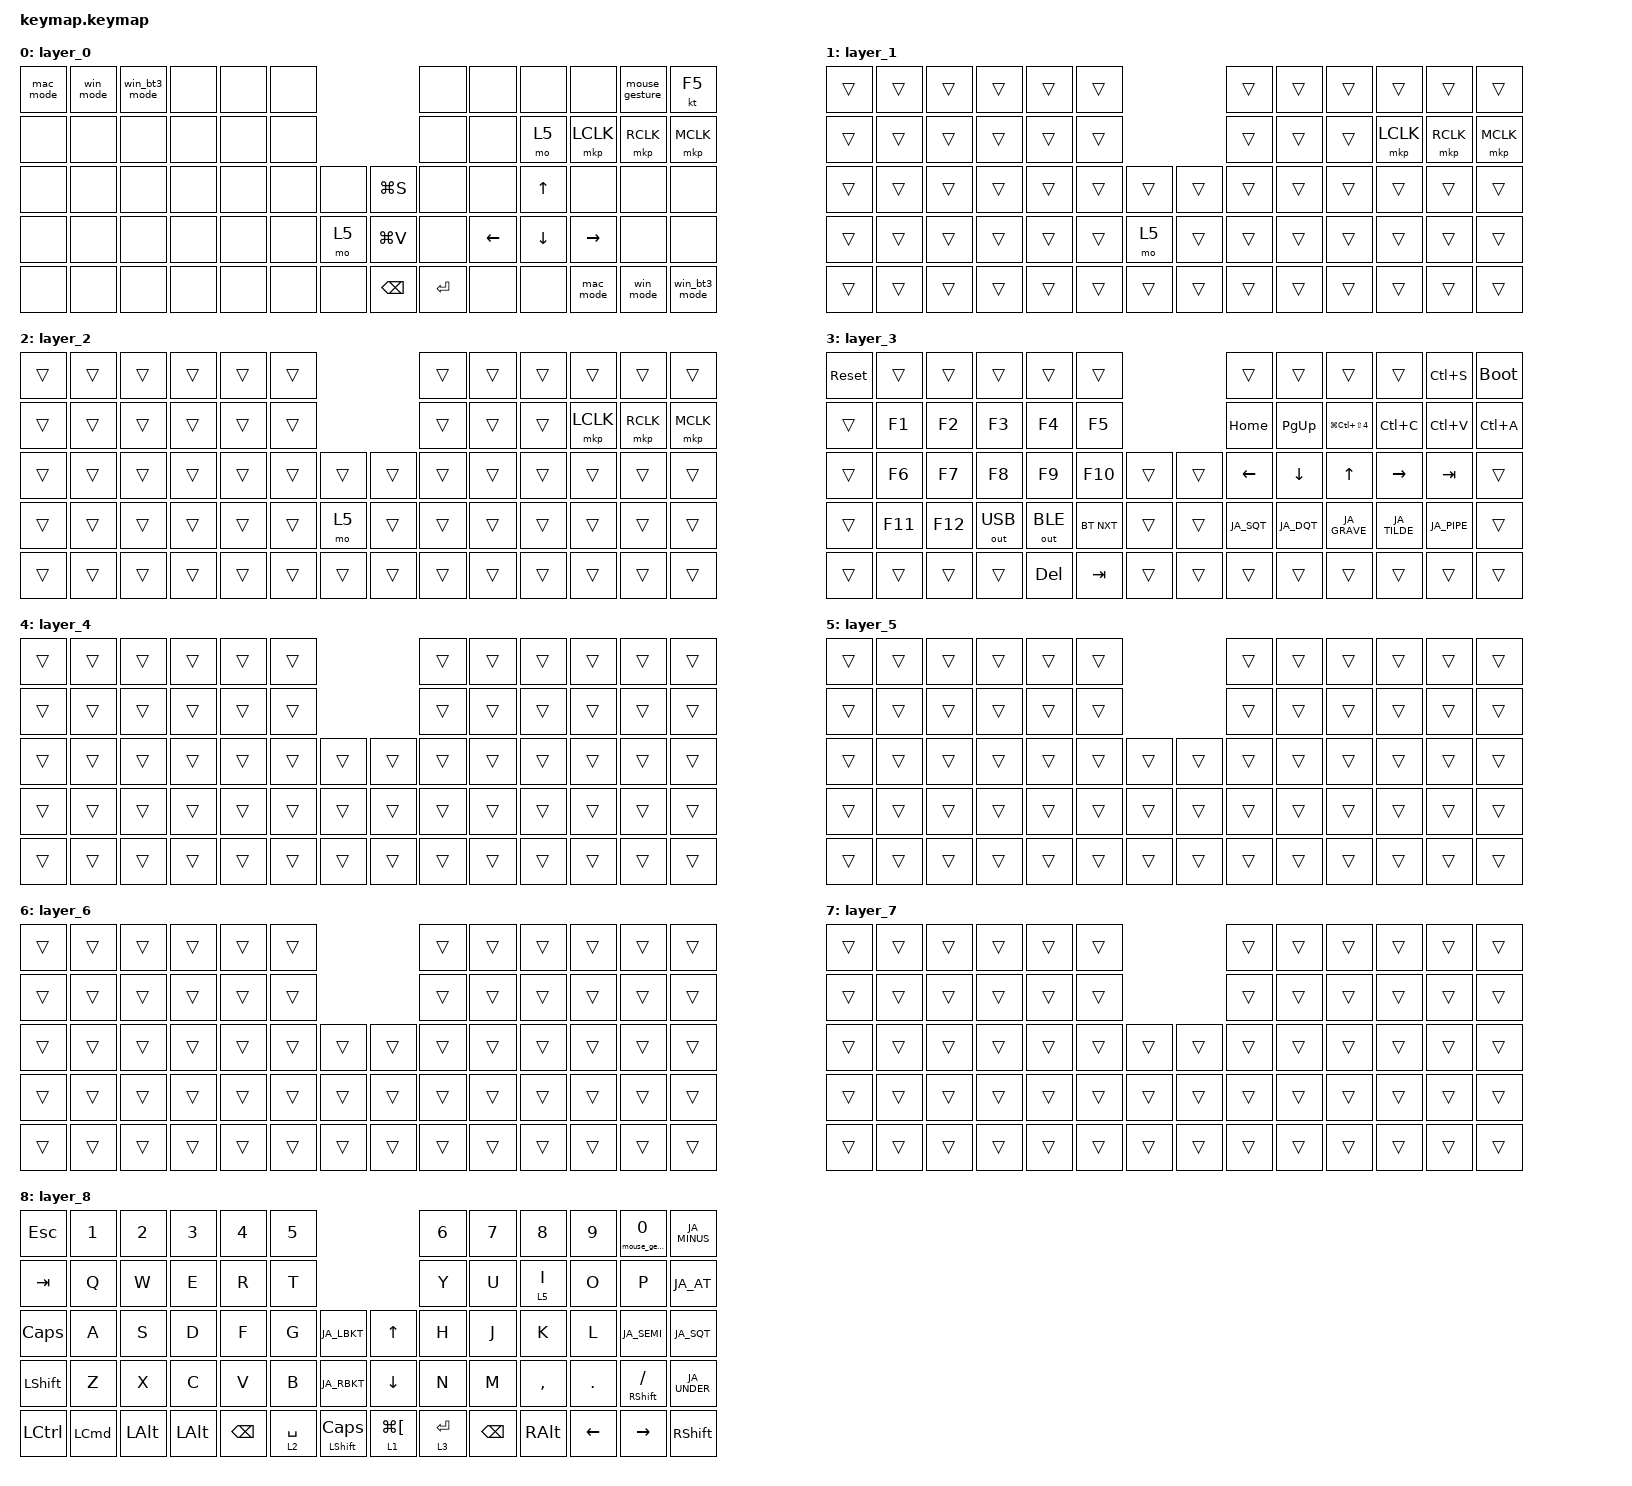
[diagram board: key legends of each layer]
// スクロール速度の基本値を最小に設定(デフォルトは10)

#define ZMK_POINTING_DEFAULT_SCRL_VAL 1

#include <dt-bindings/zmk/input_transform.h> // これがスクロール機能に必須です
#include <dt-bindings/zmk/reset.h>
#include <mouse-gesture.dtsi>
#include <behaviors.dtsi>
#include <dt-bindings/zmk/bt.h>
#include <dt-bindings/zmk/keys.h>
#include <dt-bindings/zmk/outputs.h>
#include <dt-bindings/zmk/pointing.h>
#include "keys_ja_mac.h"  // JIS配列Mac用キーコード (ローカルファイル)

/* * ジェスチャーパターンの設定 (Mac用 - モディファイア修正版) */

&zip_mouse_gesture {
    stroke-size = <100>;
    enable-eager-mode;

    // 左ジェスチャー -> デスクトップ左へ移動 (Mac: Control+Left)

    gesture_left {
        pattern = <GESTURE_LEFT>;
        bindings = <&kp LG(LEFT)>;  // MacではLGがControlとして認識される
    };

    // 右ジェスチャー -> デスクトップ右へ移動 (Mac: Control+Right)

    gesture_right {
        pattern = <GESTURE_RIGHT>;
        bindings = <&kp LG(RIGHT)>;
    };

    // 上ジェスチャー -> Mission Control (Mac: Control+Up)

    gesture_up {
        pattern = <GESTURE_UP>;
        bindings = <&kp LG(UP)>;
    };

    // 下ジェスチャー -> Spotlight検索 (Mac: Command+Space)

    gesture_down {
        pattern = <GESTURE_DOWN>;
        bindings = <&kp LC(SPACE)>;  // MacではLCがCommandとして認識される
    };
};

/ {
    win_mouse_gesture: win_mouse_gesture {
        compatible = "zmk,input-processor-mouse-gesture";
        #input-processor-cells = <0>;
        stroke-size = <100>;
        enable-eager-mode;

        // 左ジェスチャー -> 仮想デスクトップ左へ移動 (Windows: Ctrl+Win+Left)

        gesture_left {
            pattern = <GESTURE_LEFT>;
            bindings = <&kp LC(LG(LEFT))>;
        };

        // 右ジェスチャー -> 仮想デスクトップ右へ移動 (Windows: Ctrl+Win+Right)

        gesture_right {
            pattern = <GESTURE_RIGHT>;
            bindings = <&kp LC(LG(RIGHT))>;
        };

        // 上ジェスチャー -> タスクビュー (Windows: Win+Tab)

        gesture_up {
            pattern = <GESTURE_UP>;
            bindings = <&kp LG(TAB)>;
        };

        // 下ジェスチャー -> Windows検索 (Windows: Win+S)

        gesture_down {
            pattern = <GESTURE_DOWN>;
            bindings = <&kp LG(S)>;
        };
    };

    behaviors {
        // カスタムレイヤータップ: スクロール用 (balanced flavor)

        lt_balanced: lt_balanced {
            compatible = "zmk,behavior-hold-tap";
            #binding-cells = <2>;
            flavor = "balanced";
            tapping-term-ms = <200>;
            quick-tap-ms = <175>;
            bindings = <&mo>, <&kp>;
        };

        // カスタムhold-tap: ホールドでジェスチャー、タップで0キー

        gesture_n0: gesture_n0 {
            compatible = "zmk,behavior-hold-tap";
            #binding-cells = <2>;
            flavor = "balanced";
            tapping-term-ms = <200>;
            bindings = <&mouse_gesture>, <&kp>;
        };
    };

    macros {
        mac_mode: mac_mode {
            compatible = "zmk,behavior-macro";
            #binding-cells = <0>;
            wait-ms = <30>;
            tap-ms = <30>;
            // 対象を張り直してから選択し、他ホストの待機接続を切る。
            bindings = <&out OUT_BLE &bt BT_DISC 0 &bt BT_SEL 0
                        &bt BT_DISC 1 &bt BT_DISC 2 &to 1>;
        };

        win_mode: win_mode {
            compatible = "zmk,behavior-macro";
            #binding-cells = <0>;
            wait-ms = <30>;
            tap-ms = <30>;
            bindings = <&out OUT_BLE &bt BT_DISC 1 &bt BT_SEL 1
                        &bt BT_DISC 0 &bt BT_DISC 2 &to 2>;
        };

        win_bt3_mode: win_bt3_mode {
            compatible = "zmk,behavior-macro";
            #binding-cells = <0>;
            wait-ms = <30>;
            tap-ms = <30>;
            bindings = <&out OUT_BLE &bt BT_DISC 2 &bt BT_SEL 2
                        &bt BT_DISC 0 &bt BT_DISC 1 &to 2>;
        };
    };

    combos {
        compatible = "zmk,combos";

        bt_clear_current {
            bindings = <&bt BT_CLR>;
            key-positions = <6 7>;
            layers = <0>;
        };

        bt_clear_all {
            bindings = <&bt BT_CLR_ALL>;
            key-positions = <10 11>;
            layers = <0>;
        };
    };

    keymap {
        compatible = "zmk,keymap";

        /* Layer 0: マウス専用ベース */

        layer_0 {
            bindings = <
&mac_mode  &win_mode  &win_bt3_mode  &none  &none  &none                        &none      &none           &none           &none            &mouse_gesture  &kt F5
&none      &none      &none          &none  &none  &none                        &none      &none           &mo 5           &mkp LCLK        &mkp RCLK       &mkp MCLK
&none      &none      &none          &none  &none  &none  &none  &kp LG(S)      &none      &none           &kp UP_ARROW    &none            &none           &none
&none      &none      &none          &none  &none  &none  &mo 5  &kp LG(V)      &none      &kp LEFT_ARROW  &kp DOWN_ARROW  &kp RIGHT_ARROW  &none           &none
&none      &none      &none          &none  &none  &none  &none  &kp BACKSPACE  &kp ENTER  &none           &none           &mac_mode        &win_mode       &win_bt3_mode
            >;
        };

        /* Layer 1: Mac用マウスレイヤー */

        layer_1 {
            bindings = <
&trans  &trans  &trans  &trans  &trans  &trans                  &trans  &trans  &trans  &trans     &trans     &trans
&trans  &trans  &trans  &trans  &trans  &trans                  &trans  &trans  &trans  &mkp LCLK  &mkp RCLK  &mkp MCLK
&trans  &trans  &trans  &trans  &trans  &trans  &trans  &trans  &trans  &trans  &trans  &trans     &trans     &trans
&trans  &trans  &trans  &trans  &trans  &trans  &mo 5   &trans  &trans  &trans  &trans  &trans     &trans     &trans
&trans  &trans  &trans  &trans  &trans  &trans  &trans  &trans  &trans  &trans  &trans  &trans     &trans     &trans
            >;
        };

        /* Layer 2: Windows用マウスレイヤー */

        layer_2 {
            bindings = <
&trans  &trans  &trans  &trans  &trans  &trans                  &trans  &trans  &trans  &trans     &trans     &trans
&trans  &trans  &trans  &trans  &trans  &trans                  &trans  &trans  &trans  &mkp LCLK  &mkp RCLK  &mkp MCLK
&trans  &trans  &trans  &trans  &trans  &trans  &trans  &trans  &trans  &trans  &trans  &trans     &trans     &trans
&trans  &trans  &trans  &trans  &trans  &trans  &mo 5   &trans  &trans  &trans  &trans  &trans     &trans     &trans
&trans  &trans  &trans  &trans  &trans  &trans  &trans  &trans  &trans  &trans  &trans  &trans     &trans     &trans
            >;
        };

        /* Layer 3: 機能キー + システムリセット (左手側再起動用) */

        layer_3 {
            bindings = <
&sys_reset  &trans   &trans   &trans        &trans        &trans                      &trans      &trans      &trans                    &trans        &kp LC(S)    &bootloader
&trans      &kp F1   &kp F2   &kp F3        &kp F4        &kp F5                      &kp HOME    &kp PG_UP   &kp LG(LC(LS(NUMBER_4)))  &kp LC(C)     &kp LC(V)    &kp LC(A)
&trans      &kp F6   &kp F7   &kp F8        &kp F9        &kp F10     &trans  &trans  &kp LEFT    &kp DOWN    &kp UP                    &kp RIGHT     &kp TAB      &trans
&trans      &kp F11  &kp F12  &out OUT_USB  &out OUT_BLE  &bt BT_NXT  &trans  &trans  &kp JA_SQT  &kp JA_DQT  &kp JA_GRAVE              &kp JA_TILDE  &kp JA_PIPE  &trans
&trans      &trans   &trans   &trans        &kp DEL       &kp TAB     &trans  &trans  &trans      &trans      &trans                    &trans        &trans       &trans
            >;
        };

        layer_4 {
            bindings = <
&trans  &trans  &trans  &trans  &trans  &trans                  &trans  &trans  &trans  &trans  &trans  &trans
&trans  &trans  &trans  &trans  &trans  &trans                  &trans  &trans  &trans  &trans  &trans  &trans
&trans  &trans  &trans  &trans  &trans  &trans  &trans  &trans  &trans  &trans  &trans  &trans  &trans  &trans
&trans  &trans  &trans  &trans  &trans  &trans  &trans  &trans  &trans  &trans  &trans  &trans  &trans  &trans
&trans  &trans  &trans  &trans  &trans  &trans  &trans  &trans  &trans  &trans  &trans  &trans  &trans  &trans
            >;
        };

        /* Layer 5: スクロールレイヤー */

        layer_5 {
            bindings = <
&trans  &trans  &trans  &trans  &trans  &trans                  &trans  &trans  &trans  &trans  &trans  &trans
&trans  &trans  &trans  &trans  &trans  &trans                  &trans  &trans  &trans  &trans  &trans  &trans
&trans  &trans  &trans  &trans  &trans  &trans  &trans  &trans  &trans  &trans  &trans  &trans  &trans  &trans
&trans  &trans  &trans  &trans  &trans  &trans  &trans  &trans  &trans  &trans  &trans  &trans  &trans  &trans
&trans  &trans  &trans  &trans  &trans  &trans  &trans  &trans  &trans  &trans  &trans  &trans  &trans  &trans
            >;
        };

        layer_6 {
            bindings = <
&trans  &trans  &trans  &trans  &trans  &trans                  &trans  &trans  &trans  &trans  &trans  &trans
&trans  &trans  &trans  &trans  &trans  &trans                  &trans  &trans  &trans  &trans  &trans  &trans
&trans  &trans  &trans  &trans  &trans  &trans  &trans  &trans  &trans  &trans  &trans  &trans  &trans  &trans
&trans  &trans  &trans  &trans  &trans  &trans  &trans  &trans  &trans  &trans  &trans  &trans  &trans  &trans
&trans  &trans  &trans  &trans  &trans  &trans  &trans  &trans  &trans  &trans  &trans  &trans  &trans  &trans
            >;
        };

        layer_7 {
            bindings = <
&trans  &trans  &trans  &trans  &trans  &trans                  &trans  &trans  &trans  &trans  &trans  &trans
&trans  &trans  &trans  &trans  &trans  &trans                  &trans  &trans  &trans  &trans  &trans  &trans
&trans  &trans  &trans  &trans  &trans  &trans  &trans  &trans  &trans  &trans  &trans  &trans  &trans  &trans
&trans  &trans  &trans  &trans  &trans  &trans  &trans  &trans  &trans  &trans  &trans  &trans  &trans  &trans
&trans  &trans  &trans  &trans  &trans  &trans  &trans  &trans  &trans  &trans  &trans  &trans  &trans  &trans
            >;
        };

        /* Layer 8: 旧Layer 0バックアップ */

        layer_8 {
            bindings = <
&kp ESC    &kp N1            &kp N2        &kp N3    &kp N4    &kp N5                                                    &kp N6       &kp N7    &kp N8            &kp N9          &gesture_n0 0 N0      &kp JA_MINUS
&kp TAB    &kp Q             &kp W         &kp E     &kp R     &kp T                                                     &kp Y        &kp U     &lt_balanced 5 I  &kp O           &kp P                 &kp JA_AT
&kp CAPS   &kp A             &kp S         &kp D     &kp F     &kp G        &kp JA_LBKT          &kp UP_ARROW            &kp H        &kp J     &kp K             &kp L           &kp JA_SEMI           &kp JA_SQT
&kp LSHFT  &kp Z             &kp X         &kp C     &kp V     &kp B        &kp JA_RBKT          &kp DOWN_ARROW          &kp N        &kp M     &kp COMMA         &kp DOT         &mt RIGHT_SHIFT FSLH  &kp JA_UNDER
&kp LCTRL  &kp LEFT_COMMAND  &kp LEFT_ALT  &kp LALT  &kp BSPC  &lt 2 SPACE  &mt LEFT_SHIFT CAPS  &lt 1 LG(LEFT_BRACKET)  &lt 3 ENTER  &kp BSPC  &kp RALT          &kp LEFT_ARROW  &kp RIGHT_ARROW       &kp RIGHT_SHIFT
            >;
        };
    };
};
